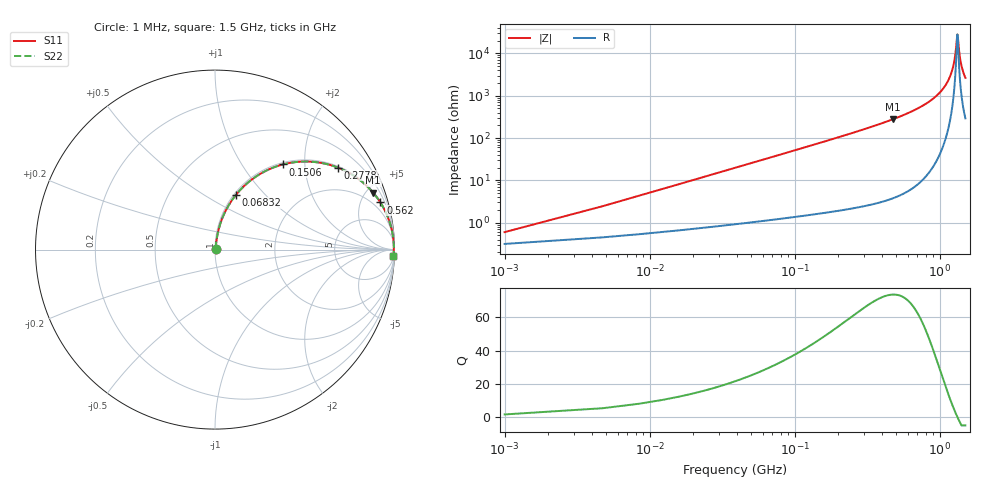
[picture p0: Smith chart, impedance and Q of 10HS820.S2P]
! Coilcraft 1008CS-820 Chip Inductor
! 02 July 2002
# MHZ S MA R 50
!Freq  MagS11  AngS11  MagS21  AngS21  MagS12  AngS12  MagS22  AngS22
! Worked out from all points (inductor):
!   402 points, 1 MHz to 1.5 GHz, reference 50 ohm
!   read as one part in series: L = 81 nH near 8.48 MHz
!   highest Q = 73.6 at 472.2 MHz (marker M1), where L = 92.8 nH
!   self-resonance near 1.321 GHz
!   S11 on the Smith chart (normalised r, x): 1 MHz: 1.01, +0.01; 68.32 MHz: 1.02, +0.70; 150.6 MHz: 1.03, +1.55; 277.8 MHz: 1.05, +2.96; 562 MHz: 1.10, +6.98; 1.5 GHz: 7, -52
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1  0.005966 58.0  0.9968 -0.3  0.9968 -0.3  0.005966 58.0
12.22  0.062 80.9  0.9921 -3.5  0.9921 -3.5  0.062 80.9
19.7  0.09933 80.3  0.9881 -5.7  0.9881 -5.7  0.09933 80.3
38.4  0.1905 76.4  0.9728 -11.0  0.9728 -11.0  0.1905 76.4
68.32  0.326 69.1  0.9346 -19.0  0.9346 -19.0  0.326 69.1
150.6  0.6072 51.4  0.7818 -37.4  0.7818 -37.4  0.6072 51.4
251.58  0.7928 36.6  0.5967 -52.4  0.5967 -52.4  0.7928 36.6
277.76  0.8225 33.8  0.5561 -55.3  0.5561 -55.3  0.8225 33.8
472.24  0.9359 19.9  0.3397 -69.4  0.3397 -69.4  0.9359 19.9
502.16  0.9444 18.4  0.3162 -70.8  0.3162 -70.8  0.9444 18.4
562  0.9578 15.9  0.2743 -73.3  0.2743 -73.3  0.9578 15.9
752.74  0.9819 10.0  0.1732 -79.0  0.1732 -79.0  0.9819 10.0
1003.32  0.9937 4.7  0.08253 -83.2  0.08253 -83.2  0.9937 4.7
1160.4  0.9961 2.2  0.03882 -83.1  0.03882 -83.1  0.9961 2.2
1253.9  0.9965 0.9  0.01601 -76.9  0.01601 -76.9  0.9965 0.9
1280.08  0.9965 0.5  0.01013 -69.6  0.01013 -69.6  0.9965 0.5
1321.22  0.9964 0.0  0.003564 -2.6  0.003564 -2.6  0.9964 0.0
1332.44  0.9964 -0.1  0.00429 33.0  0.00429 33.0  0.9964 -0.1
1366.1  0.9963 -0.6  0.01041 68.6  0.01041 68.6  0.9963 -0.6
1396.02  0.9961 -0.9  0.01659 75.9  0.01659 75.9  0.9961 -0.9
1440.9  0.9957 -1.5  0.02583 79.7  0.02583 79.7  0.9957 -1.5
1500  0.9951 -2.1  0.03769 81.5  0.03769 81.5  0.9951 -2.1
